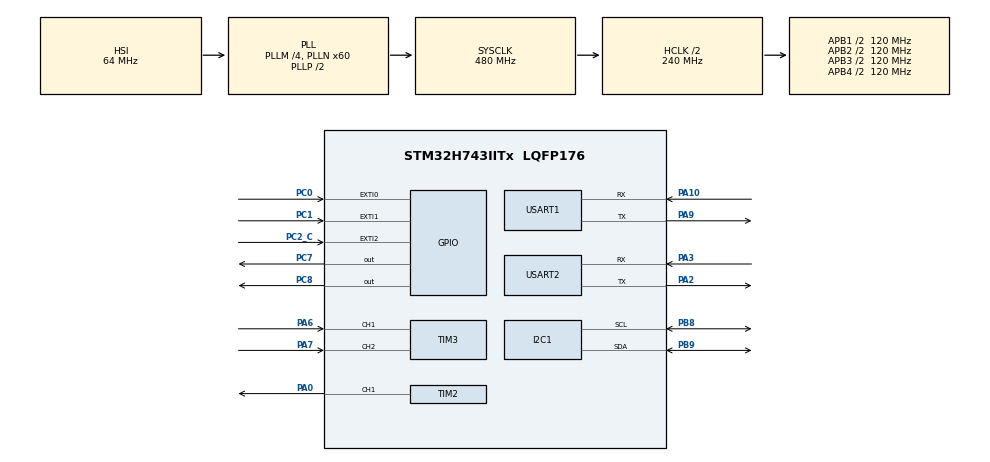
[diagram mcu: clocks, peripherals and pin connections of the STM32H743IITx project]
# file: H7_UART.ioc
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CORTEX_M7.default_mode_Activation=1
FREERTOS.Tasks01=defaultTask,0,128,StartDefaultTask,Default,NULL,Dynamic,NULL,NULL
I2C1.Timing=0x307075B1
Mcu.Family=STM32H7
Mcu.Name=STM32H743IITx
Mcu.Package=LQFP176
NVIC.EXTI0_IRQn=true\:9\:0\:true\:false\:true\:true\:true\:true\:true
NVIC.EXTI1_IRQn=true\:10\:0\:true\:false\:true\:true\:true\:true\:true
NVIC.EXTI2_IRQn=true\:11\:0\:true\:false\:true\:true\:true\:true\:true
NVIC.PriorityGroup=NVIC_PRIORITYGROUP_4
NVIC.TIM7_IRQn=true\:1\:0\:true\:false\:true\:false\:false\:true\:true
NVIC.TimeBase=TIM7_IRQn
NVIC.TimeBaseIP=TIM7
PA0.Signal=S_TIM2_CH1_ETR
PA10.Mode=Asynchronous
PA10.Signal=USART1_RX
PA2.Mode=Asynchronous
PA2.Signal=USART2_TX
PA3.Mode=Asynchronous
PA3.Signal=USART2_RX
PA6.Signal=S_TIM3_CH1
PA7.Signal=S_TIM3_CH2
PA9.Mode=Asynchronous
PA9.Signal=USART1_TX
PB8.Mode=I2C
PB8.Signal=I2C1_SCL
PB9.Mode=I2C
PB9.Signal=I2C1_SDA
PC0.Signal=GPXTI0
PC1.Signal=GPXTI1
PC2_C.Signal=GPXTI2
PC7.Signal=GPIO_Output
PC8.Signal=GPIO_Output
PH0-OSC_IN\ (PH0).Mode=HSE-External-Oscillator
PH0-OSC_IN\ (PH0).Signal=RCC_OSC_IN
PH1-OSC_OUT\ (PH1).Mode=HSE-External-Oscillator
PH1-OSC_OUT\ (PH1).Signal=RCC_OSC_OUT
ProjectManager.HeapSize=0x200
ProjectManager.StackSize=0x400
ProjectManager.TargetToolchain=MDK-ARM V5.32
RCC.ADCFreq_Value=129000000
RCC.APB1Freq_Value=120000000
RCC.APB2Freq_Value=120000000
RCC.APB3Freq_Value=120000000
RCC.APB4Freq_Value=120000000
RCC.CortexFreq_Value=480000000
RCC.D1PPRE=RCC_APB3_DIV2
RCC.D2PPRE1=RCC_APB1_DIV2
RCC.D2PPRE2=RCC_APB2_DIV2
RCC.D3PPRE=RCC_APB4_DIV2
RCC.DIVM1=4
RCC.DIVN1=60
RCC.HCLKFreq_Value=240000000
RCC.HPRE=RCC_HCLK_DIV2
RCC.PLL2FRACN=0
RCC.PLL3FRACN=0
RCC.PLLFRACN=0
RCC.SYSCLKFreq_VALUE=480000000
RCC.SYSCLKSource=RCC_SYSCLKSOURCE_PLLCLK
RCC.USBFreq_Value=480000000
SH.S_TIM2_CH1_ETR.0=TIM2_CH1,PWM Generation1 CH1
SH.S_TIM3_CH1.0=TIM3_CH1,Encoder_Interface
SH.S_TIM3_CH2.0=TIM3_CH2,Encoder_Interface
TIM2.Channel-PWM\ Generation1\ CH1=TIM_CHANNEL_1
TIM2.Period=1000
TIM2.Prescaler=240
USART1.VirtualMode-Asynchronous=VM_ASYNC
USART2.VirtualMode-Asynchronous=VM_ASYNC
VP_FREERTOS_VS_CMSIS_V1.Mode=CMSIS_V1
VP_MEMORYMAP_VS_MEMORYMAP.Mode=CurAppReg
VP_SYS_VS_tim7.Mode=TIM7
VP_TIM2_VS_ClockSourceINT.Mode=Internal
board=custom

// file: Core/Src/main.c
/* USER CODE BEGIN Header */
/**
  ******************************************************************************
  * @file           : main.c
  * @brief          : Main program body
  ******************************************************************************
  * @attention
  *
  * Copyright (c) 2025 STMicroelectronics.
  * All rights reserved.
  *
  * This software is licensed under terms that can be found in the LICENSE file
  * in the root directory of this software component.
  * If no LICENSE file comes with this software, it is provided AS-IS.
  *
  ******************************************************************************
  */
/* USER CODE END Header */
#include "main.h"
#include "cmsis_os.h"
#include "i2c.h"
#include "memorymap.h"
#include "tim.h"
#include "usart.h"
#include "gpio.h"

/* USER CODE BEGIN Includes */
#include "stm32h7xx_hal.h"
#include "stm32h7xx_hal_uart.h"
#include "MYGPIO.h"
#include "MYUART.h"
#include "ZDTcontrol.h"
#include <stdio.h>
#include "oled.h"
#include "font.h"
#include "myvoid.h"
#include "pid.h"
#include "motor.h"
/* USER CODE END Includes */

/* USER CODE BEGIN PD */
pid_t pid1 = {
    .kp = 2,
    .ki = 0.4,
    .kd = 0.1,
    // .target = 500,
    .outMax = 1000,
    .outMin = -1000,
};
float speed_Control = 0; // 速度控制
/* USER CODE END PD */

/* USER CODE BEGIN PV */

void HAL_GPIO_EXTI_Callback(uint16_t GPIO_Pin)
{

}

/* USER CODE END PV */

void SystemClock_Config(void);
static void MPU_Config(void);
void MX_FREERTOS_Init(void);

int main(void)
{

  /* MPU Configuration--------------------------------------------------------*/
  MPU_Config();

  /* MCU Configuration--------------------------------------------------------*/

  /* Reset of all peripherals, Initializes the Flash interface and the Systick. */
  HAL_Init();

  /* Configure the system clock */
  SystemClock_Config();

  /* Initialize all configured peripherals */
  MX_GPIO_Init();
  MX_USART2_UART_Init();
  MX_USART1_UART_Init();
  MX_I2C1_Init();
  MX_TIM2_Init();
  MX_TIM3_Init();
  /* USER CODE BEGIN 2 */
	MY_GPIO_Init();
	HAL_Delay(100);
	OLED_Init();
  HAL_TIM_PWM_Start(&htim2, TIM_CHANNEL_1);
  Encoder_Init();
//	HAL_GPIO_WritePin(GPIOC,GPIO_PIN_8, GPIO_PIN_SET);
  // __HAL_TIM_SET_COMPARE(&htim2, TIM_CHANNEL_1, 500);
  // Motor_Forward(-1);
	// HAL_Delay(100000);
	/* USER CODE END 2 */

  /* Call init function for freertos objects (in cmsis_os2.c) */
  MX_FREERTOS_Init();

  /* Start scheduler */
  osKernelStart();

  /* We should never get here as control is now taken by the scheduler */

  /* Infinite loop */
  while (1)
  {

  }
}

void SystemClock_Config(void)
{
  RCC_OscInitTypeDef RCC_OscInitStruct = {0};
  RCC_ClkInitTypeDef RCC_ClkInitStruct = {0};

  /** Supply configuration update enable
  */
  HAL_PWREx_ConfigSupply(PWR_LDO_SUPPLY);

  /** Configure the main internal regulator output voltage
  */
  __HAL_PWR_VOLTAGESCALING_CONFIG(PWR_REGULATOR_VOLTAGE_SCALE0);

  while(!__HAL_PWR_GET_FLAG(PWR_FLAG_VOSRDY)) {}

  /** Initializes the RCC Oscillators according to the specified parameters
  * in the RCC_OscInitTypeDef structure.
  */
  RCC_OscInitStruct.OscillatorType = RCC_OSCILLATORTYPE_HSI;
  RCC_OscInitStruct.HSIState = RCC_HSI_DIV1;
  RCC_OscInitStruct.HSICalibrationValue = RCC_HSICALIBRATION_DEFAULT;
  RCC_OscInitStruct.PLL.PLLState = RCC_PLL_ON;
  RCC_OscInitStruct.PLL.PLLSource = RCC_PLLSOURCE_HSI;
  RCC_OscInitStruct.PLL.PLLM = 4;
  RCC_OscInitStruct.PLL.PLLN = 60;
  RCC_OscInitStruct.PLL.PLLP = 2;
  RCC_OscInitStruct.PLL.PLLQ = 2;
  RCC_OscInitStruct.PLL.PLLR = 2;
  RCC_OscInitStruct.PLL.PLLRGE = RCC_PLL1VCIRANGE_3;
  RCC_OscInitStruct.PLL.PLLVCOSEL = RCC_PLL1VCOWIDE;
  RCC_OscInitStruct.PLL.PLLFRACN = 0;
  if (HAL_RCC_OscConfig(&RCC_OscInitStruct) != HAL_OK)
  {
    Error_Handler();
  }

  /** Initializes the CPU, AHB and APB buses clocks
  */
  RCC_ClkInitStruct.ClockType = RCC_CLOCKTYPE_HCLK|RCC_CLOCKTYPE_SYSCLK
                              |RCC_CLOCKTYPE_PCLK1|RCC_CLOCKTYPE_PCLK2
                              |RCC_CLOCKTYPE_D3PCLK1|RCC_CLOCKTYPE_D1PCLK1;
  RCC_ClkInitStruct.SYSCLKSource = RCC_SYSCLKSOURCE_PLLCLK;
  RCC_ClkInitStruct.SYSCLKDivider = RCC_SYSCLK_DIV1;
  RCC_ClkInitStruct.AHBCLKDivider = RCC_HCLK_DIV2;
  RCC_ClkInitStruct.APB3CLKDivider = RCC_APB3_DIV2;
  RCC_ClkInitStruct.APB1CLKDivider = RCC_APB1_DIV2;
  RCC_ClkInitStruct.APB2CLKDivider = RCC_APB2_DIV2;
  RCC_ClkInitStruct.APB4CLKDivider = RCC_APB4_DIV2;

  if (HAL_RCC_ClockConfig(&RCC_ClkInitStruct, FLASH_LATENCY_4) != HAL_OK)
  {
    Error_Handler();
  }
}

 /* MPU Configuration */

void MPU_Config(void)
{
  MPU_Region_InitTypeDef MPU_InitStruct = {0};

  /* Disables the MPU */
  HAL_MPU_Disable();

  /** Initializes and configures the Region and the memory to be protected
  */
  MPU_InitStruct.Enable = MPU_REGION_ENABLE;
  MPU_InitStruct.Number = MPU_REGION_NUMBER0;
  MPU_InitStruct.BaseAddress = 0x0;
  MPU_InitStruct.Size = MPU_REGION_SIZE_4GB;
  MPU_InitStruct.SubRegionDisable = 0x87;
  MPU_InitStruct.TypeExtField = MPU_TEX_LEVEL0;
  MPU_InitStruct.AccessPermission = MPU_REGION_NO_ACCESS;
  MPU_InitStruct.DisableExec = MPU_INSTRUCTION_ACCESS_DISABLE;
  MPU_InitStruct.IsShareable = MPU_ACCESS_SHAREABLE;
  MPU_InitStruct.IsCacheable = MPU_ACCESS_NOT_CACHEABLE;
  MPU_InitStruct.IsBufferable = MPU_ACCESS_NOT_BUFFERABLE;

  HAL_MPU_ConfigRegion(&MPU_InitStruct);
  /* Enables the MPU */
  HAL_MPU_Enable(MPU_PRIVILEGED_DEFAULT);

}

void HAL_TIM_PeriodElapsedCallback(TIM_HandleTypeDef *htim)
{
  if (htim->Instance == TIM7)
  {
    HAL_IncTick();
  }
}

void Error_Handler(void)
{
  __disable_irq();
  while (1)
  {
  }
}

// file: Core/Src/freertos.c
/* USER CODE BEGIN Header */
/**
  ******************************************************************************
  * File Name          : freertos.c
  * Description        : Code for freertos applications
  ******************************************************************************
  * @attention
  *
  * Copyright (c) 2025 STMicroelectronics.
  * All rights reserved.
  *
  * This software is licensed under terms that can be found in the LICENSE file
  * in the root directory of this software component.
  * If no LICENSE file comes with this software, it is provided AS-IS.
  *
  ******************************************************************************
  */
/* USER CODE END Header */

#include "FreeRTOS.h"
#include "task.h"
#include "main.h"
#include "cmsis_os.h"

/* USER CODE BEGIN Includes */
#include "oled.h"
#include "font.h"
#include "ZDTcontrol.h"
#include "string.h"
#include "stdio.h"
#include "pid.h"
/* USER CODE END Includes */

/* USER CODE BEGIN PD */
extern pid_t pid1;
extern float speed_Control;
/* USER CODE END PD */

osThreadId defaultTaskHandle;

/* USER CODE BEGIN FunctionPrototypes */
void OLED_Task(void *pvParameters);
void ZDT_Task( void *pvParameters);
void motor_Task(void *pvParameters);
/* USER CODE END FunctionPrototypes */

void StartDefaultTask(void const * argument);

void MX_FREERTOS_Init(void); /* (MISRA C 2004 rule 8.1) */

/* GetIdleTaskMemory prototype (linked to static allocation support) */
void vApplicationGetIdleTaskMemory( StaticTask_t **ppxIdleTaskTCBBuffer, StackType_t **ppxIdleTaskStackBuffer, uint32_t *pulIdleTaskStackSize );

/* USER CODE BEGIN GET_IDLE_TASK_MEMORY */
static StaticTask_t xIdleTaskTCBBuffer;
static StackType_t xIdleStack[configMINIMAL_STACK_SIZE];

void vApplicationGetIdleTaskMemory( StaticTask_t **ppxIdleTaskTCBBuffer, StackType_t **ppxIdleTaskStackBuffer, uint32_t *pulIdleTaskStackSize )
{
  *ppxIdleTaskTCBBuffer = &xIdleTaskTCBBuffer;
  *ppxIdleTaskStackBuffer = &xIdleStack[0];
  *pulIdleTaskStackSize = configMINIMAL_STACK_SIZE;
  /* place for user code */
}
/* USER CODE END GET_IDLE_TASK_MEMORY */

void MX_FREERTOS_Init(void) {

  /* Create the thread(s) */
  /* definition and creation of defaultTask */
  osThreadDef(defaultTask, StartDefaultTask, osPriorityNormal, 0, 128);
  defaultTaskHandle = osThreadCreate(osThread(defaultTask), NULL);

}

/* USER CODE BEGIN Header_StartDefaultTask */
TaskHandle_t OLEDTask = NULL;
TaskHandle_t ZDTTask = NULL;
TaskHandle_t motorHandle = NULL;

/* USER CODE END Header_StartDefaultTask */
void StartDefaultTask(void const * argument)
{
  /* USER CODE BEGIN StartDefaultTask */
  /* Infinite loop */
  taskENTER_CRITICAL();

  xTaskCreate(
    OLED_Task,              /* 任务函数 */
    "OLEDTask",                   /* 任务名称（用于调试） */
    128,                        /* 堆栈大小（以字为单位） */
    NULL,                       /* 传递给任务函数的参数 */
    2,                          /* 任务优先级 */
    &OLEDTask            /* 任务句柄 */
  );

  xTaskCreate(
    ZDT_Task,              /* 任务函数 */
    "ZDTTask",                   /* 任务名称（用于调试） */
    128,                        /* 堆栈大小（以字为单位） */
    NULL,                       /* 传递给任务函数的参数 */
    2,                          /* 任务优先级 */
    &ZDTTask           /* 任务句柄 */
  );

  xTaskCreate(
    motor_Task,              /* 任务函数 */
    "motorTask",                   /* 任务名称（用于调试） */
    128,                        /* 堆栈大小（以字为单位） */
    NULL,                       /* 传递给任务函数的参数 */
    4,                          /* 任务优先级 */
    &motorHandle            /* 任务句柄 */
  );

  taskEXIT_CRITICAL();
  vTaskDelete(NULL);
  for(;;)
  {
    osDelay(1);
  }
  /* USER CODE END StartDefaultTask */
}

/* USER CODE BEGIN Application */

void OLED_Task( void *pvParameters )//用来OLED显示PID参数
{
  for(;;)
  {
    char a[20]={0};
    char pidnumber[20]={0};
    char pidtarget[10]={0};
    char piderror[10]={0};
    char pidout[10]={0};
    sprintf(pidnumber,"kp:%.d ki:%.1f kd:%.1f",Encoder1_Position(), pid1.pid_i, pid1.pid_d);
    sprintf(a,"S:%.1f",speed_Control);
    sprintf(pidtarget,"t:%.1f",pid1.target);
    sprintf(piderror,"e:%.1f",pid1.error0);
    sprintf(pidout,"o:%.1f",pid1.out);
    OLED_NewFrame();
    OLED_PrintASCIIString(1,1,pidnumber,&afont12x6,OLED_COLOR_NORMAL);
    OLED_PrintASCIIString(1,12,a,&afont12x6,OLED_COLOR_NORMAL);
    OLED_PrintASCIIString(1,24,pidtarget,&afont12x6,OLED_COLOR_NORMAL);
    OLED_PrintASCIIString(1,36,piderror,&afont12x6,OLED_COLOR_NORMAL);
    OLED_PrintASCIIString(1,48,pidout,&afont12x6,OLED_COLOR_NORMAL);
    OLED_ShowFrame();
    vTaskDelay(10);
  }
}
void ZDT_Task( void *pvParameters ) //暂且不用
{
  for(;;)
  {

  }
}

void motor_Task( void *pvParameters )
{
  for(;;)
  {
    pid1.target = speed_Control;
    pid_update(&pid1);
    Motor_SetSpeed(pid1.out);
    vTaskDelay(10);
  }
}

/* USER CODE END Application */
